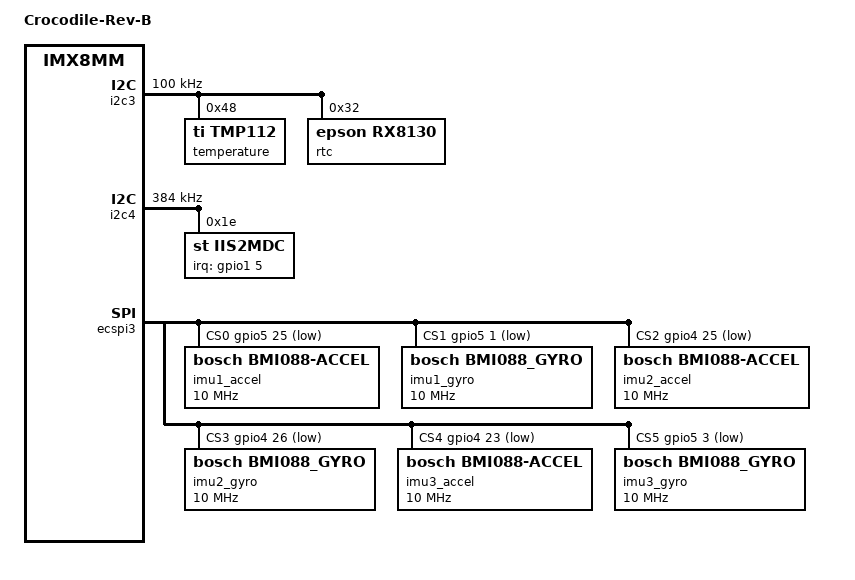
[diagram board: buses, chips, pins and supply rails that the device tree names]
// SPDX-License-Identifier: (GPL-2.0+ OR MIT)
/*
 * Copyright (C) 2021 Leica Geosystems AG
 */

/dts-v1/;

#include "imx8mm-leica-crocodile.dtsi"
#include "imx8mm-leica-crocodile-rpmsg.dtsi"

/ {
	model = "Crocodile-Rev-B";
	compatible = "leica,crocodile-rev-b", "leica,crocodile", "fsl,imx8mm";
};

&fec1 {
	/*
	 * disable reset gpio since PHY is not detected anymore after a reset.
	 */
	/delete-property/ phy-reset-gpios;
	/delete-property/ phy-reset-duration;
};

&i2c1 {
	/delete-node/ tmp112-sensor@48;
	/delete-node/ rtc@32;
};

&i2c3 {
	clock-frequency = <100000>;
	pinctrl-names = "default";
	pinctrl-0 = <&pinctrl_i2c3>;
	status = "okay";

	temperature: tmp112-sensor@48{
		compatible = "ti,tmp112";
		reg = <0x48>;
	};

	rtc@32 {
		compatible = "epson,rx8130";
		reg = <0x32>;
		aux-voltage-chargeable = <0>;
		wakeup-source;
	};
};

&i2c4 {
	clock-frequency = <384000>;
	pinctrl-names = "default";
	pinctrl-0 = <&pinctrl_i2c4>;
	status = "okay";

	iis2mdc@1e {
		compatible = "st,iis2mdc";
		reg = <0x1e>;
		pinctrl-names = "default";
		pinctrl-0 = <&pinctrl_iis2mdc>;
		interrupt-parent = <&gpio1>;
		interrupts = <5 IRQ_TYPE_EDGE_RISING>;
		st,drdy-int-pin = <1>;
	};
};

&ecspi3 {
	fsl,spi-num-chipselects = <6>;
	cs-gpios =
		   <&gpio5 25 GPIO_ACTIVE_LOW>,
		   <&gpio5 1 GPIO_ACTIVE_LOW>,
		   <&gpio4 25 GPIO_ACTIVE_LOW>,
		   <&gpio4 26 GPIO_ACTIVE_LOW>,
		   <&gpio4 23 GPIO_ACTIVE_LOW>,
		   <&gpio5 3 GPIO_ACTIVE_LOW>;
	pinctrl-names = "default";
	pinctrl-0 = <&pinctrl_ecspi3>;
	status = "okay";

	imu1_accel:bmg088@0 {
		compatible = "bosch,bmi088-accel";
		spi-max-frequency = <10000000>;
		reg = <0>;
	};

	imu1_gyro:bmg088@1 {
		compatible = "bosch,bmi088_gyro";
		spi-max-frequency = <10000000>;
		reg = <1>;
	};

	imu2_accel:bmg088@2 {
		compatible = "bosch,bmi088-accel";
		spi-max-frequency = <10000000>;
		reg = <2>;
	};

	imu2_gyro:bmg088@3 {
		compatible = "bosch,bmi088_gyro";
		spi-max-frequency = <10000000>;
		reg = <3>;
	};

	imu3_accel:bmg088@4 {
		compatible = "bosch,bmi088-accel";
		spi-max-frequency = <10000000>;
		reg = <4>;
	};

	imu3_gyro:bmg088@5 {
		compatible = "bosch,bmi088_gyro";
		spi-max-frequency = <10000000>;
		reg = <5>;
	};
};

&gpio1 {
	gpio-line-names =
		"",
		"WIFIBT_PWR_DOWN",
		"", "", "", "", "",
		"", "", "",
		"IMX8_CPU_RDY",
		"IMU_LT_OUT",
		"IMU1_INT",
		"IMX8_USB1_OC_SOURCEx",
		"IMU2_INT",
		"IMX8_USB1_OC_SINKx";
};

&gpio2 {
	gpio-line-names =
		"", "", "", "", "",
		"", "", "", "", "",
		"", "", "", "", "",
		"", "", "", "", "",
		"";
};

&gpio3 {
	gpio-line-names =
		"", "", "", "", "",
		"", "", "", "", "",
		"", "", "", "", "",
		"", "", "", "",
		"GNSS_RSTx",
		"GNSS_SAVEBOOTx",
		"GNSS_EXTINT",
		"UHF_SDN",
		"UHF_GPIO_0",
		"",
		"GNSS_PPS";
};

&gpio4 {
	status = "okay";
	gpio-line-names =
		"DBG_ENET_WOL",
		"DBG_ENET_INT",
		"", "", "", "", "",
		"", "", "", "",
		"DBG_GPIO1",
		"", "", "", "", "",
		"", "", "", "", "",
		"", "",
		"LTE_EMERG_RST",
		"", "",
		"LTE_ONx",
		"IMU3_INT";
};

&gpio5 {
	status = "okay";
	gpio-line-names =
		"", "",
		"LTE_FST_SHDN";
};

&iomuxc {
	pinctrl-0 = <&pinctrl_gpio>;

	pinctrl_i2c3: i2c3grp {
		fsl,pins = <
			MX8MM_IOMUXC_I2C3_SCL_I2C3_SCL	0x400001c3	/*CROCODILE_IMX8_I2C_3_SCL*/
			MX8MM_IOMUXC_I2C3_SDA_I2C3_SDA	0x400001c3	/*CROCODILE_IMX8_I2C_3_SDA*/
		>;
	};

	pinctrl_i2c4: i2c4grp {
		fsl,pins = <
			MX8MM_IOMUXC_I2C4_SCL_I2C4_SCL	0x400001c3	/*CROCODILE_IMX8_I2C_4_SCL*/
			MX8MM_IOMUXC_I2C4_SDA_I2C4_SDA	0x400001c3	/*CROCODILE_IMX8_I2C_4_SDA*/
		>;
	};

	pinctrl_ecspi3: ecspi3grp {
		fsl,pins = <
			MX8MM_IOMUXC_UART1_TXD_ECSPI3_MOSI	0x0	/*CROCODILE_IMX8_ECSPI3_MOSI*/
			MX8MM_IOMUXC_UART2_RXD_ECSPI3_MISO	0x0	/*CROCODILE_IMX8_ECSPI3_MISO*/
			MX8MM_IOMUXC_UART1_RXD_ECSPI3_SCLK	0x0	/*CROCODILE_IMX8_ECSPI3_SCLK*/
			MX8MM_IOMUXC_UART2_TXD_GPIO5_IO25		0x0	/*CROCODILE_IMU_1_CS_ACC*/
			MX8MM_IOMUXC_SAI3_TXD_GPIO5_IO1		0x0	/*CROCODILE_IMU_1_CS_GYRO*/
			MX8MM_IOMUXC_SAI2_TXC_GPIO4_IO25		0x0	/*CROCODILE_IMU_2_CS_ACC*/
			MX8MM_IOMUXC_SAI2_TXD0_GPIO4_IO26		0x0	/*CROCODILE_IMU_2_CS_GYRO*/
			MX8MM_IOMUXC_SAI2_RXD0_GPIO4_IO23		0x0	/*CROCODILE_IMU_3_CS_ACC*/
			MX8MM_IOMUXC_SPDIF_TX_GPIO5_IO3		0x0	/*CROCODILE_IMU_3_CS_GYRO*/
		>;
	};

	pinctrl_iis2mdc: iis2mdcgrp {
		fsl,pins = <
			MX8MM_IOMUXC_GPIO1_IO05_GPIO1_IO5		0x40	/*CROCODILE_MAG_DRDY*/
		>;
	};

	pinctrl_gpio: gpiogrp {
		fsl,pins = <
			MX8MM_IOMUXC_SAI2_MCLK_GPIO4_IO27		0x00	/*CROCODILE_LTE_ONX*/
			MX8MM_IOMUXC_SAI2_TXFS_GPIO4_IO24		0x00	/*CROCODILE_LTE_EMERG_RST*/
			MX8MM_IOMUXC_SAI3_MCLK_GPIO5_IO2		0x20	/*CROCODILE_LTE_FST_SHDN*/
			MX8MM_IOMUXC_SAI3_RXFS_GPIO4_IO28		0x140	/*CROCODILE_IMU_3_INT*/
			MX8MM_IOMUXC_GPIO1_IO11_GPIO1_IO11		0x00	/*CROCODILE_IMU_LT_OUT*/
			MX8MM_IOMUXC_GPIO1_IO12_GPIO1_IO12		0x140	/*CROCODILE_IMU_1_INT*/
			MX8MM_IOMUXC_GPIO1_IO14_GPIO1_IO14		0x140	/*CROCODILE_IMU_2_INT*/
			MX8MM_IOMUXC_SAI5_MCLK_GPIO3_IO25		0x100	/*CROCODILE_GNSS_PPS*/
			MX8MM_IOMUXC_SAI5_RXFS_GPIO3_IO19		0x00	/*CROCODILE_GNSS_RSTX*/
			MX8MM_IOMUXC_SAI5_RXC_GPIO3_IO20	0x00	/*CROCODILE_GNSS_SAFEBOOTX*/
			MX8MM_IOMUXC_SAI5_RXD0_GPIO3_IO21		0x00	/*CROCODILE_GNSS_EXTINT*/
			MX8MM_IOMUXC_SAI5_RXD1_GPIO3_IO22		0x00	/*CROCODILE_UHF_SDN*/
			MX8MM_IOMUXC_SAI5_RXD2_GPIO3_IO23		0x100	/*CROCODILE_UHF_GPIO_0*/
			MX8MM_IOMUXC_SAI1_TXC_GPIO4_IO11		0x00	/*CROCODILE_DBG_GPIO1*/
			MX8MM_IOMUXC_SAI1_RXC_GPIO4_IO1		0x00	/*CROCODILE_DBG_ENET_INT*/
			MX8MM_IOMUXC_SAI1_RXFS_GPIO4_IO0		0x00	/*CROCODILE_DBG_ENET_WOL*/
			MX8MM_IOMUXC_GPIO1_IO01_GPIO1_IO1	0x00	/*CROCODILE_WIFIBT_PWR_DOWN*/
			MX8MM_IOMUXC_GPIO1_IO13_GPIO1_IO13	0x00	/*CROCODILE_IMX8_USB1_OC_SOURCEx*/
			MX8MM_IOMUXC_GPIO1_IO15_GPIO1_IO15	0x00	/*CROCODILE_IMX8_USB1_OC_SINKx*/
			MX8MM_IOMUXC_GPIO1_IO10_GPIO1_IO10		0x100	/*CROCODILE_IMX8_CPU_RDY*/
		>;
	};
};
